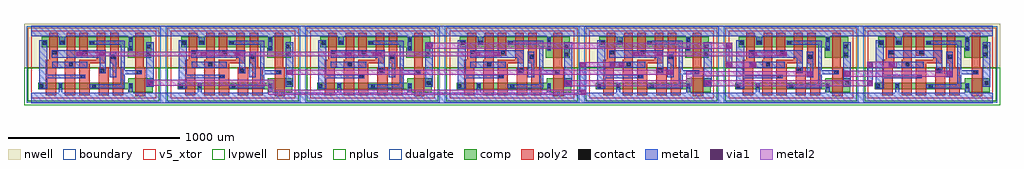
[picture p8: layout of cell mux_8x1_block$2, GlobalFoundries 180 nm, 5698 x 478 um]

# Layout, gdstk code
import gdstk
lib = gdstk.Library(unit=1e-6, precision=1e-07)
def R(c, l, rs):  # rectangles x0, y0, x1, y1
    for r in rs: c.add(gdstk.rectangle(r[:2], r[2:], *l))
def P(c, l, *ps):  # polygons
    for p in ps: c.add(gdstk.Polygon(p, *l))
boundary = (0, 0)
nwell = (21, 0)
comp = (22, 0)
poly2 = (30, 0)
pplus = (31, 0)
nplus = (32, 0)
contact = (33, 0)
metal1 = (34, 0)
via1 = (35, 0)
metal2 = (36, 0)
dualgate = (55, 0)
v5_xtor = (112, 1)
lvpwell = (204, 0)

mux_2bit_block_8 = lib.new_cell('mux_2bit_block$8')
R(mux_2bit_block_8, boundary, [(0,0,728,392)])
R(mux_2bit_block_8, nwell, [(-43,176,771,435)])
P(mux_2bit_block_8, comp, [(562,236),(562,296.5),(60,296.5),(60,358),(700,358),(700,236)],
  [(566,34),(566,52),(40,52),(40,88),(566,88),(566,116),(710,116),(710,34)])
R(mux_2bit_block_8, poly2, [(392,17.5,452,179.5), (280,247.5,330,380)])
P(mux_2bit_block_8, poly2, [(606,12),(606,380),(656,380),(656,179.5),(666,179.5),(666,12)],
  [(476,17.5),(476,203.5),(459.5,203.5),(459.5,380),(509.5,380),(509.5,179.5),(536,179.5),(536,17.5)],
  [(280,17.5),(280,223.5),(382,223.5),(382,380),(432,380),(432,203.5),(340,203.5),(340,17.5)],
  [(196,17.5),(196,223.5),(206,223.5),(206,380),(256,380),(256,17.5)],
  [(84,17.5),(84,223.5),(104,223.5),(104,380),(154,380),(154,179.5),(144,179.5),(144,17.5)])
R(mux_2bit_block_8, pplus, [(-20,176,748,412)])
R(mux_2bit_block_8, nplus, [(-20,-20,748,176)])
R(mux_2bit_block_8, contact, [(569,58.5,591,80.5), (47,59,69,81), (159,59,181,81), (355,59,377,81), (681,76.5,703,98.5), (287,115,309,137), (616,140,638,162), (404,150.5,426,172.5), (220,185,242,207), (466.5,230.5,488.5,252.5), (671,243,693,265), (125,254.5,147,276.5), (301,254.5,323,276.5), (569,282,591,304), (671,290,693,312), (67,311.5,89,333.5), (169,311.5,191,333.5), (345,311.5,367,333.5), (569,329,591,351)])
R(mux_2bit_block_8, metal1, [(670.5,65,715,327), (457,121,495,271), (121,177,327,212)])
P(mux_2bit_block_8, metal1, [(340,57.5),(340,81.5),(522.5,81.5),(522.5,311),(339,311),(339,334),(545.5,334),(545.5,162.5),(644,162.5),(644,139),(545.5,139),(545.5,57.5)],
  [(398.5,144.5),(398.5,236),(119,236),(119,278.5),(434,278.5),(434,144.5)],
  [(46.5,53),(46.5,338),(93,338),(93,137.5),(315.5,137.5),(315.5,114.5),(93,114.5),(93,53)],
  [(0,-30),(0,30),(158.5,30),(158.5,88),(181.5,88),(181.5,30),(568.5,30),(568.5,86.5),(591.5,86.5),(591.5,30),(728,30),(728,-30)],
  [(568.5,276),(568.5,362),(197,362),(197,310.5),(163,310.5),(163,362),(0,362),(0,422),(728,422),(728,362),(591.5,362),(591.5,276)])
R(mux_2bit_block_8, dualgate, [(-28,-28,756,420)])
R(mux_2bit_block_8, v5_xtor, [(0,0,728,392)])
R(mux_2bit_block_8, lvpwell, [(-43,-43,771,176)])
mux_2bit_block_8.add(gdstk.Label('IN1_MUX_NULL', (476,196), layer=34, texttype=10))
mux_2bit_block_8.add(gdstk.Label('IN0_MUX_INV2', (252,196), layer=34, texttype=10))
mux_2bit_block_8.add(gdstk.Label('SEL0', (308,252), layer=34, texttype=10))
mux_2bit_block_8.add(gdstk.Label('VDD', (364,392), layer=34, texttype=10))
mux_2bit_block_8.add(gdstk.Label('VSS', (364,0), layer=34, texttype=10))
mux_2bit_block_8.add(gdstk.Label('OUT_MUX_0', (700,196), layer=34, texttype=10))
mux_2bit_block_8.add(gdstk.Label('& Vendor GLOBALFOUNDRIES', (728,200), layer=63, texttype=63))
mux_2bit_block_8.add(gdstk.Label('& Product GF018hv5v_mcu_sc7', (728,150), layer=63, texttype=63))
mux_2bit_block_8.add(gdstk.Label('& Version 2015q2v1', (728,100), layer=63, texttype=63))
mux_2bit_block_8.add(gdstk.Label('& Metric 1.00', (728,50), layer=63, texttype=63))

mux_2bit_block_1_2 = lib.new_cell('mux_2bit_block$1$2')
R(mux_2bit_block_1_2, boundary, [(0,0,728,392)])
R(mux_2bit_block_1_2, nwell, [(-43,176,771,435)])
P(mux_2bit_block_1_2, comp, [(562,236),(562,296.5),(60,296.5),(60,358),(700,358),(700,236)],
  [(566,34),(566,52),(40,52),(40,88),(566,88),(566,116),(710,116),(710,34)])
R(mux_2bit_block_1_2, poly2, [(392,17.5,452,179.5), (280,247.5,330,380)])
P(mux_2bit_block_1_2, poly2, [(606,12),(606,380),(656,380),(656,179.5),(666,179.5),(666,12)],
  [(476,17.5),(476,203.5),(459.5,203.5),(459.5,380),(509.5,380),(509.5,179.5),(536,179.5),(536,17.5)],
  [(280,17.5),(280,223.5),(382,223.5),(382,380),(432,380),(432,203.5),(340,203.5),(340,17.5)],
  [(196,17.5),(196,223.5),(206,223.5),(206,380),(256,380),(256,17.5)],
  [(84,17.5),(84,223.5),(104,223.5),(104,380),(154,380),(154,179.5),(144,179.5),(144,17.5)])
R(mux_2bit_block_1_2, pplus, [(-20,176,748,412)])
R(mux_2bit_block_1_2, nplus, [(-20,-20,748,176)])
R(mux_2bit_block_1_2, contact, [(569,58.5,591,80.5), (47,59,69,81), (159,59,181,81), (355,59,377,81), (681,76.5,703,98.5), (287,115,309,137), (616,140,638,162), (404,150.5,426,172.5), (220,185,242,207), (466.5,230.5,488.5,252.5), (671,243,693,265), (125,254.5,147,276.5), (301,254.5,323,276.5), (569,282,591,304), (671,290,693,312), (67,311.5,89,333.5), (169,311.5,191,333.5), (345,311.5,367,333.5), (569,329,591,351)])
R(mux_2bit_block_1_2, metal1, [(670.5,65,715,327), (457,121,495,271), (121,177,327,212)])
P(mux_2bit_block_1_2, metal1, [(340,57.5),(340,81.5),(522.5,81.5),(522.5,311),(339,311),(339,334),(545.5,334),(545.5,162.5),(644,162.5),(644,139),(545.5,139),(545.5,57.5)],
  [(398.5,144.5),(398.5,236),(119,236),(119,278.5),(434,278.5),(434,144.5)],
  [(46.5,53),(46.5,338),(93,338),(93,137.5),(315.5,137.5),(315.5,114.5),(93,114.5),(93,53)],
  [(0,-30),(0,30),(158.5,30),(158.5,88),(181.5,88),(181.5,30),(568.5,30),(568.5,86.5),(591.5,86.5),(591.5,30),(728,30),(728,-30)],
  [(568.5,276),(568.5,362),(197,362),(197,310.5),(163,310.5),(163,362),(0,362),(0,422),(728,422),(728,362),(591.5,362),(591.5,276)])
R(mux_2bit_block_1_2, dualgate, [(-28,-28,756,420)])
R(mux_2bit_block_1_2, v5_xtor, [(0,0,728,392)])
R(mux_2bit_block_1_2, lvpwell, [(-43,-43,771,176)])
mux_2bit_block_1_2.add(gdstk.Label('IN3_MUX_NULL', (476,196), layer=34, texttype=10))
mux_2bit_block_1_2.add(gdstk.Label('IN2_MUX_OR2', (252,196), layer=34, texttype=10))
mux_2bit_block_1_2.add(gdstk.Label('SEL0', (308,252), layer=34, texttype=10))
mux_2bit_block_1_2.add(gdstk.Label('VDD', (364,392), layer=34, texttype=10))
mux_2bit_block_1_2.add(gdstk.Label('VSS', (364,0), layer=34, texttype=10))
mux_2bit_block_1_2.add(gdstk.Label('OUT_MUX_1', (700,196), layer=34, texttype=10))
mux_2bit_block_1_2.add(gdstk.Label('& Vendor GLOBALFOUNDRIES', (728,200), layer=63, texttype=63))
mux_2bit_block_1_2.add(gdstk.Label('& Product GF018hv5v_mcu_sc7', (728,150), layer=63, texttype=63))
mux_2bit_block_1_2.add(gdstk.Label('& Version 2015q2v1', (728,100), layer=63, texttype=63))
mux_2bit_block_1_2.add(gdstk.Label('& Metric 1.00', (728,50), layer=63, texttype=63))

mux_2bit_block_2_2 = lib.new_cell('mux_2bit_block$2$2')
R(mux_2bit_block_2_2, boundary, [(0,0,728,392)])
R(mux_2bit_block_2_2, nwell, [(-43,176,771,435)])
P(mux_2bit_block_2_2, comp, [(562,236),(562,296.5),(60,296.5),(60,358),(700,358),(700,236)],
  [(566,34),(566,52),(40,52),(40,88),(566,88),(566,116),(710,116),(710,34)])
R(mux_2bit_block_2_2, poly2, [(392,17.5,452,179.5), (280,247.5,330,380)])
P(mux_2bit_block_2_2, poly2, [(606,12),(606,380),(656,380),(656,179.5),(666,179.5),(666,12)],
  [(476,17.5),(476,203.5),(459.5,203.5),(459.5,380),(509.5,380),(509.5,179.5),(536,179.5),(536,17.5)],
  [(280,17.5),(280,223.5),(382,223.5),(382,380),(432,380),(432,203.5),(340,203.5),(340,17.5)],
  [(196,17.5),(196,223.5),(206,223.5),(206,380),(256,380),(256,17.5)],
  [(84,17.5),(84,223.5),(104,223.5),(104,380),(154,380),(154,179.5),(144,179.5),(144,17.5)])
R(mux_2bit_block_2_2, pplus, [(-20,176,748,412)])
R(mux_2bit_block_2_2, nplus, [(-20,-20,748,176)])
R(mux_2bit_block_2_2, contact, [(569,58.5,591,80.5), (47,59,69,81), (159,59,181,81), (355,59,377,81), (681,76.5,703,98.5), (287,115,309,137), (616,140,638,162), (404,150.5,426,172.5), (220,185,242,207), (466.5,230.5,488.5,252.5), (671,243,693,265), (125,254.5,147,276.5), (301,254.5,323,276.5), (569,282,591,304), (671,290,693,312), (67,311.5,89,333.5), (169,311.5,191,333.5), (345,311.5,367,333.5), (569,329,591,351)])
R(mux_2bit_block_2_2, metal1, [(670.5,65,715,327), (457,121,495,271), (121,177,327,212)])
P(mux_2bit_block_2_2, metal1, [(340,57.5),(340,81.5),(522.5,81.5),(522.5,311),(339,311),(339,334),(545.5,334),(545.5,162.5),(644,162.5),(644,139),(545.5,139),(545.5,57.5)],
  [(398.5,144.5),(398.5,236),(119,236),(119,278.5),(434,278.5),(434,144.5)],
  [(46.5,53),(46.5,338),(93,338),(93,137.5),(315.5,137.5),(315.5,114.5),(93,114.5),(93,53)],
  [(0,-30),(0,30),(158.5,30),(158.5,88),(181.5,88),(181.5,30),(568.5,30),(568.5,86.5),(591.5,86.5),(591.5,30),(728,30),(728,-30)],
  [(568.5,276),(568.5,362),(197,362),(197,310.5),(163,310.5),(163,362),(0,362),(0,422),(728,422),(728,362),(591.5,362),(591.5,276)])
R(mux_2bit_block_2_2, dualgate, [(-28,-28,756,420)])
R(mux_2bit_block_2_2, v5_xtor, [(0,0,728,392)])
R(mux_2bit_block_2_2, lvpwell, [(-43,-43,771,176)])
mux_2bit_block_2_2.add(gdstk.Label('IN5_MUX_NULL', (476,196), layer=34, texttype=10))
mux_2bit_block_2_2.add(gdstk.Label('IN4_MUX_AND2', (252,196), layer=34, texttype=10))
mux_2bit_block_2_2.add(gdstk.Label('SEL0', (308,252), layer=34, texttype=10))
mux_2bit_block_2_2.add(gdstk.Label('VDD', (364,392), layer=34, texttype=10))
mux_2bit_block_2_2.add(gdstk.Label('VSS', (364,0), layer=34, texttype=10))
mux_2bit_block_2_2.add(gdstk.Label('OUT_MUX_2', (700,196), layer=34, texttype=10))
mux_2bit_block_2_2.add(gdstk.Label('& Vendor GLOBALFOUNDRIES', (728,200), layer=63, texttype=63))
mux_2bit_block_2_2.add(gdstk.Label('& Product GF018hv5v_mcu_sc7', (728,150), layer=63, texttype=63))
mux_2bit_block_2_2.add(gdstk.Label('& Version 2015q2v1', (728,100), layer=63, texttype=63))
mux_2bit_block_2_2.add(gdstk.Label('& Metric 1.00', (728,50), layer=63, texttype=63))

mux_2bit_block_3_2 = lib.new_cell('mux_2bit_block$3$2')
R(mux_2bit_block_3_2, boundary, [(0,0,728,392)])
R(mux_2bit_block_3_2, nwell, [(-43,176,771,435)])
P(mux_2bit_block_3_2, comp, [(562,236),(562,296.5),(60,296.5),(60,358),(700,358),(700,236)],
  [(566,34),(566,52),(40,52),(40,88),(566,88),(566,116),(710,116),(710,34)])
R(mux_2bit_block_3_2, poly2, [(392,17.5,452,179.5), (280,247.5,330,380)])
P(mux_2bit_block_3_2, poly2, [(606,12),(606,380),(656,380),(656,179.5),(666,179.5),(666,12)],
  [(476,17.5),(476,203.5),(459.5,203.5),(459.5,380),(509.5,380),(509.5,179.5),(536,179.5),(536,17.5)],
  [(280,17.5),(280,223.5),(382,223.5),(382,380),(432,380),(432,203.5),(340,203.5),(340,17.5)],
  [(196,17.5),(196,223.5),(206,223.5),(206,380),(256,380),(256,17.5)],
  [(84,17.5),(84,223.5),(104,223.5),(104,380),(154,380),(154,179.5),(144,179.5),(144,17.5)])
R(mux_2bit_block_3_2, pplus, [(-20,176,748,412)])
R(mux_2bit_block_3_2, nplus, [(-20,-20,748,176)])
R(mux_2bit_block_3_2, contact, [(569,58.5,591,80.5), (47,59,69,81), (159,59,181,81), (355,59,377,81), (681,76.5,703,98.5), (287,115,309,137), (616,140,638,162), (404,150.5,426,172.5), (220,185,242,207), (466.5,230.5,488.5,252.5), (671,243,693,265), (125,254.5,147,276.5), (301,254.5,323,276.5), (569,282,591,304), (671,290,693,312), (67,311.5,89,333.5), (169,311.5,191,333.5), (345,311.5,367,333.5), (569,329,591,351)])
R(mux_2bit_block_3_2, metal1, [(670.5,65,715,327), (457,121,495,271), (121,177,327,212)])
P(mux_2bit_block_3_2, metal1, [(340,57.5),(340,81.5),(522.5,81.5),(522.5,311),(339,311),(339,334),(545.5,334),(545.5,162.5),(644,162.5),(644,139),(545.5,139),(545.5,57.5)],
  [(398.5,144.5),(398.5,236),(119,236),(119,278.5),(434,278.5),(434,144.5)],
  [(46.5,53),(46.5,338),(93,338),(93,137.5),(315.5,137.5),(315.5,114.5),(93,114.5),(93,53)],
  [(0,-30),(0,30),(158.5,30),(158.5,88),(181.5,88),(181.5,30),(568.5,30),(568.5,86.5),(591.5,86.5),(591.5,30),(728,30),(728,-30)],
  [(568.5,276),(568.5,362),(197,362),(197,310.5),(163,310.5),(163,362),(0,362),(0,422),(728,422),(728,362),(591.5,362),(591.5,276)])
R(mux_2bit_block_3_2, dualgate, [(-28,-28,756,420)])
R(mux_2bit_block_3_2, v5_xtor, [(0,0,728,392)])
R(mux_2bit_block_3_2, lvpwell, [(-43,-43,771,176)])
mux_2bit_block_3_2.add(gdstk.Label('IN6_MUX_ADD2', (252,196), layer=34, texttype=10))
mux_2bit_block_3_2.add(gdstk.Label('IN7_MUX_SUB2', (476,196), layer=34, texttype=10))
mux_2bit_block_3_2.add(gdstk.Label('SEL0', (308,252), layer=34, texttype=10))
mux_2bit_block_3_2.add(gdstk.Label('VDD', (364,392), layer=34, texttype=10))
mux_2bit_block_3_2.add(gdstk.Label('VSS', (364,0), layer=34, texttype=10))
mux_2bit_block_3_2.add(gdstk.Label('OUT_MUX_3', (700,196), layer=34, texttype=10))
mux_2bit_block_3_2.add(gdstk.Label('& Vendor GLOBALFOUNDRIES', (728,200), layer=63, texttype=63))
mux_2bit_block_3_2.add(gdstk.Label('& Product GF018hv5v_mcu_sc7', (728,150), layer=63, texttype=63))
mux_2bit_block_3_2.add(gdstk.Label('& Version 2015q2v1', (728,100), layer=63, texttype=63))
mux_2bit_block_3_2.add(gdstk.Label('& Metric 1.00', (728,50), layer=63, texttype=63))

mux_2bit_block_4_2 = lib.new_cell('mux_2bit_block$4$2')
R(mux_2bit_block_4_2, boundary, [(0,0,728,392)])
R(mux_2bit_block_4_2, nwell, [(-43,176,771,435)])
P(mux_2bit_block_4_2, comp, [(562,236),(562,296.5),(60,296.5),(60,358),(700,358),(700,236)],
  [(566,34),(566,52),(40,52),(40,88),(566,88),(566,116),(710,116),(710,34)])
R(mux_2bit_block_4_2, poly2, [(392,17.5,452,179.5), (280,247.5,330,380)])
P(mux_2bit_block_4_2, poly2, [(606,12),(606,380),(656,380),(656,179.5),(666,179.5),(666,12)],
  [(476,17.5),(476,203.5),(459.5,203.5),(459.5,380),(509.5,380),(509.5,179.5),(536,179.5),(536,17.5)],
  [(280,17.5),(280,223.5),(382,223.5),(382,380),(432,380),(432,203.5),(340,203.5),(340,17.5)],
  [(196,17.5),(196,223.5),(206,223.5),(206,380),(256,380),(256,17.5)],
  [(84,17.5),(84,223.5),(104,223.5),(104,380),(154,380),(154,179.5),(144,179.5),(144,17.5)])
R(mux_2bit_block_4_2, pplus, [(-20,176,748,412)])
R(mux_2bit_block_4_2, nplus, [(-20,-20,748,176)])
R(mux_2bit_block_4_2, contact, [(569,58.5,591,80.5), (47,59,69,81), (159,59,181,81), (355,59,377,81), (681,76.5,703,98.5), (287,115,309,137), (616,140,638,162), (404,150.5,426,172.5), (220,185,242,207), (466.5,230.5,488.5,252.5), (671,243,693,265), (125,254.5,147,276.5), (301,254.5,323,276.5), (569,282,591,304), (671,290,693,312), (67,311.5,89,333.5), (169,311.5,191,333.5), (345,311.5,367,333.5), (569,329,591,351)])
R(mux_2bit_block_4_2, metal1, [(670.5,65,715,327), (457,121,495,271), (121,177,327,212)])
P(mux_2bit_block_4_2, metal1, [(340,57.5),(340,81.5),(522.5,81.5),(522.5,311),(339,311),(339,334),(545.5,334),(545.5,162.5),(644,162.5),(644,139),(545.5,139),(545.5,57.5)],
  [(398.5,144.5),(398.5,236),(119,236),(119,278.5),(434,278.5),(434,144.5)],
  [(46.5,53),(46.5,338),(93,338),(93,137.5),(315.5,137.5),(315.5,114.5),(93,114.5),(93,53)],
  [(0,-30),(0,30),(158.5,30),(158.5,88),(181.5,88),(181.5,30),(568.5,30),(568.5,86.5),(591.5,86.5),(591.5,30),(728,30),(728,-30)],
  [(568.5,276),(568.5,362),(197,362),(197,310.5),(163,310.5),(163,362),(0,362),(0,422),(728,422),(728,362),(591.5,362),(591.5,276)])
R(mux_2bit_block_4_2, dualgate, [(-28,-28,756,420)])
R(mux_2bit_block_4_2, v5_xtor, [(0,0,728,392)])
R(mux_2bit_block_4_2, lvpwell, [(-43,-43,771,176)])
mux_2bit_block_4_2.add(gdstk.Label('SEL1', (308,252), layer=34, texttype=10))
mux_2bit_block_4_2.add(gdstk.Label('VDD', (364,392), layer=34, texttype=10))
mux_2bit_block_4_2.add(gdstk.Label('VSS', (364,0), layer=34, texttype=10))
mux_2bit_block_4_2.add(gdstk.Label('OUT_MUX_4', (700,196), layer=34, texttype=10))
mux_2bit_block_4_2.add(gdstk.Label('IN8_OUT_MUX0', (252,196), layer=34, texttype=10))
mux_2bit_block_4_2.add(gdstk.Label('IN9_OUT_MUX1', (476,196), layer=34, texttype=10))
mux_2bit_block_4_2.add(gdstk.Label('& Vendor GLOBALFOUNDRIES', (728,200), layer=63, texttype=63))
mux_2bit_block_4_2.add(gdstk.Label('& Product GF018hv5v_mcu_sc7', (728,150), layer=63, texttype=63))
mux_2bit_block_4_2.add(gdstk.Label('& Version 2015q2v1', (728,100), layer=63, texttype=63))
mux_2bit_block_4_2.add(gdstk.Label('& Metric 1.00', (728,50), layer=63, texttype=63))

mux_2bit_block_5_2 = lib.new_cell('mux_2bit_block$5$2')
R(mux_2bit_block_5_2, boundary, [(0,0,728,392)])
R(mux_2bit_block_5_2, nwell, [(-43,176,771,435)])
P(mux_2bit_block_5_2, comp, [(562,236),(562,296.5),(60,296.5),(60,358),(700,358),(700,236)],
  [(566,34),(566,52),(40,52),(40,88),(566,88),(566,116),(710,116),(710,34)])
R(mux_2bit_block_5_2, poly2, [(392,17.5,452,179.5), (280,247.5,330,380)])
P(mux_2bit_block_5_2, poly2, [(606,12),(606,380),(656,380),(656,179.5),(666,179.5),(666,12)],
  [(476,17.5),(476,203.5),(459.5,203.5),(459.5,380),(509.5,380),(509.5,179.5),(536,179.5),(536,17.5)],
  [(280,17.5),(280,223.5),(382,223.5),(382,380),(432,380),(432,203.5),(340,203.5),(340,17.5)],
  [(196,17.5),(196,223.5),(206,223.5),(206,380),(256,380),(256,17.5)],
  [(84,17.5),(84,223.5),(104,223.5),(104,380),(154,380),(154,179.5),(144,179.5),(144,17.5)])
R(mux_2bit_block_5_2, pplus, [(-20,176,748,412)])
R(mux_2bit_block_5_2, nplus, [(-20,-20,748,176)])
R(mux_2bit_block_5_2, contact, [(569,58.5,591,80.5), (47,59,69,81), (159,59,181,81), (355,59,377,81), (681,76.5,703,98.5), (287,115,309,137), (616,140,638,162), (404,150.5,426,172.5), (220,185,242,207), (466.5,230.5,488.5,252.5), (671,243,693,265), (125,254.5,147,276.5), (301,254.5,323,276.5), (569,282,591,304), (671,290,693,312), (67,311.5,89,333.5), (169,311.5,191,333.5), (345,311.5,367,333.5), (569,329,591,351)])
R(mux_2bit_block_5_2, metal1, [(670.5,65,715,327), (457,121,495,271), (121,177,327,212)])
P(mux_2bit_block_5_2, metal1, [(340,57.5),(340,81.5),(522.5,81.5),(522.5,311),(339,311),(339,334),(545.5,334),(545.5,162.5),(644,162.5),(644,139),(545.5,139),(545.5,57.5)],
  [(398.5,144.5),(398.5,236),(119,236),(119,278.5),(434,278.5),(434,144.5)],
  [(46.5,53),(46.5,338),(93,338),(93,137.5),(315.5,137.5),(315.5,114.5),(93,114.5),(93,53)],
  [(0,-30),(0,30),(158.5,30),(158.5,88),(181.5,88),(181.5,30),(568.5,30),(568.5,86.5),(591.5,86.5),(591.5,30),(728,30),(728,-30)],
  [(568.5,276),(568.5,362),(197,362),(197,310.5),(163,310.5),(163,362),(0,362),(0,422),(728,422),(728,362),(591.5,362),(591.5,276)])
R(mux_2bit_block_5_2, dualgate, [(-28,-28,756,420)])
R(mux_2bit_block_5_2, v5_xtor, [(0,0,728,392)])
R(mux_2bit_block_5_2, lvpwell, [(-43,-43,771,176)])
mux_2bit_block_5_2.add(gdstk.Label('SEL1', (308,252), layer=34, texttype=10))
mux_2bit_block_5_2.add(gdstk.Label('VDD', (364,392), layer=34, texttype=10))
mux_2bit_block_5_2.add(gdstk.Label('VSS', (364,0), layer=34, texttype=10))
mux_2bit_block_5_2.add(gdstk.Label('OUT_MUX_5', (700,196), layer=34, texttype=10))
mux_2bit_block_5_2.add(gdstk.Label('IN10_OUT_MUX2', (252,196), layer=34, texttype=10))
mux_2bit_block_5_2.add(gdstk.Label('IN11_OUT_MUX3', (476,196), layer=34, texttype=10))
mux_2bit_block_5_2.add(gdstk.Label('& Vendor GLOBALFOUNDRIES', (728,200), layer=63, texttype=63))
mux_2bit_block_5_2.add(gdstk.Label('& Product GF018hv5v_mcu_sc7', (728,150), layer=63, texttype=63))
mux_2bit_block_5_2.add(gdstk.Label('& Version 2015q2v1', (728,100), layer=63, texttype=63))
mux_2bit_block_5_2.add(gdstk.Label('& Metric 1.00', (728,50), layer=63, texttype=63))

mux_2bit_block_6_2 = lib.new_cell('mux_2bit_block$6$2')
R(mux_2bit_block_6_2, boundary, [(0,0,728,392)])
R(mux_2bit_block_6_2, nwell, [(-43,176,771,435)])
P(mux_2bit_block_6_2, comp, [(562,236),(562,296.5),(60,296.5),(60,358),(700,358),(700,236)],
  [(566,34),(566,52),(40,52),(40,88),(566,88),(566,116),(710,116),(710,34)])
R(mux_2bit_block_6_2, poly2, [(392,17.5,452,179.5), (280,247.5,330,380)])
P(mux_2bit_block_6_2, poly2, [(606,12),(606,380),(656,380),(656,179.5),(666,179.5),(666,12)],
  [(476,17.5),(476,203.5),(459.5,203.5),(459.5,380),(509.5,380),(509.5,179.5),(536,179.5),(536,17.5)],
  [(280,17.5),(280,223.5),(382,223.5),(382,380),(432,380),(432,203.5),(340,203.5),(340,17.5)],
  [(196,17.5),(196,223.5),(206,223.5),(206,380),(256,380),(256,17.5)],
  [(84,17.5),(84,223.5),(104,223.5),(104,380),(154,380),(154,179.5),(144,179.5),(144,17.5)])
R(mux_2bit_block_6_2, pplus, [(-20,176,748,412)])
R(mux_2bit_block_6_2, nplus, [(-20,-20,748,176)])
R(mux_2bit_block_6_2, contact, [(569,58.5,591,80.5), (47,59,69,81), (159,59,181,81), (355,59,377,81), (681,76.5,703,98.5), (287,115,309,137), (616,140,638,162), (404,150.5,426,172.5), (220,185,242,207), (466.5,230.5,488.5,252.5), (671,243,693,265), (125,254.5,147,276.5), (301,254.5,323,276.5), (569,282,591,304), (671,290,693,312), (67,311.5,89,333.5), (169,311.5,191,333.5), (345,311.5,367,333.5), (569,329,591,351)])
R(mux_2bit_block_6_2, metal1, [(670.5,65,715,327), (457,121,495,271), (121,177,327,212)])
P(mux_2bit_block_6_2, metal1, [(340,57.5),(340,81.5),(522.5,81.5),(522.5,311),(339,311),(339,334),(545.5,334),(545.5,162.5),(644,162.5),(644,139),(545.5,139),(545.5,57.5)],
  [(398.5,144.5),(398.5,236),(119,236),(119,278.5),(434,278.5),(434,144.5)],
  [(46.5,53),(46.5,338),(93,338),(93,137.5),(315.5,137.5),(315.5,114.5),(93,114.5),(93,53)],
  [(0,-30),(0,30),(158.5,30),(158.5,88),(181.5,88),(181.5,30),(568.5,30),(568.5,86.5),(591.5,86.5),(591.5,30),(728,30),(728,-30)],
  [(568.5,276),(568.5,362),(197,362),(197,310.5),(163,310.5),(163,362),(0,362),(0,422),(728,422),(728,362),(591.5,362),(591.5,276)])
R(mux_2bit_block_6_2, dualgate, [(-28,-28,756,420)])
R(mux_2bit_block_6_2, v5_xtor, [(0,0,728,392)])
R(mux_2bit_block_6_2, lvpwell, [(-43,-43,771,176)])
mux_2bit_block_6_2.add(gdstk.Label('SEL2', (308,252), layer=34, texttype=10))
mux_2bit_block_6_2.add(gdstk.Label('VDD', (364,392), layer=34, texttype=10))
mux_2bit_block_6_2.add(gdstk.Label('VSS', (364,0), layer=34, texttype=10))
mux_2bit_block_6_2.add(gdstk.Label('OUT_MUX6', (700,196), layer=34, texttype=10))
mux_2bit_block_6_2.add(gdstk.Label('IN12_OUT_MUX4', (252,196), layer=34, texttype=10))
mux_2bit_block_6_2.add(gdstk.Label('IN13_OUT_MUX5', (476,196), layer=34, texttype=10))
mux_2bit_block_6_2.add(gdstk.Label('& Vendor GLOBALFOUNDRIES', (728,200), layer=63, texttype=63))
mux_2bit_block_6_2.add(gdstk.Label('& Product GF018hv5v_mcu_sc7', (728,150), layer=63, texttype=63))
mux_2bit_block_6_2.add(gdstk.Label('& Version 2015q2v1', (728,100), layer=63, texttype=63))
mux_2bit_block_6_2.add(gdstk.Label('& Metric 1.00', (728,50), layer=63, texttype=63))

mux_8x1_block_2 = lib.new_cell('mux_8x1_block$2')
R(mux_8x1_block_2, metal1, [(-27.3,-87.1,5584.2,-27.1), (3174.5,-37.2,3211.7,151.5), (4852,12.1,4885.4,154.4), (4026.3,119.9,4063.4,265.9), (-27.1,305,5584.4,365)])
R(mux_8x1_block_2, via1, [(3179.3,-34.2,3208.7,-12.4), (4855.3,14.4,4882.8,43.8), (3091.6,15.5,3127.4,44.3), (3907.7,16,3938.4,43.3), (651.6,22.6,682.9,43.6), (5317.8,70.1,5347,98.9), (4723.1,70.9,4753.5,98), (4503.6,72.2,4533.3,97.4), (3689.2,82,3717.1,105.2), (1466.8,82.9,1498.3,104.9), (4169.5,122.2,4202,149.3), (4982.1,122.4,5013.6,152.2), (4856.5,122.5,4882.2,150.5), (4029.8,124.2,4060.6,149.6), (3179,126.6,3207.6,148.4), (3402.1,127.5,3424.7,148.3), (3354.7,127.7,3375.5,148.7), (960.6,188.8,989.8,210.1), (240.4,188.9,273.2,211), (240.4,188.9,273.2,211), (1801.2,189.3,1840.7,208), (3489.4,189.4,3522.2,211.5), (4342.4,189.5,4380,210), (1160.4,189.8,1192.8,210.5), (1967.3,189.8,2016.7,206.6), (4177.5,189.9,4206.7,209.3), (2566.3,190.9,2590.2,210.2), (2670.8,190.9,2704,209.1), (365.7,191.9,398.3,209), (365.7,191.9,398.3,209), (3623.5,192.9,3656.1,210), (4031.4,234.8,4059.7,261.6), (2278.4,235.7,2312,261.6)])
R(mux_8x1_block_2, metal2, [(3904,12.1,4885.4,47), (4718.5,67.1,5349.8,102), (1463,79.7,3719.7,107.9), (4852,119.6,5025.5,154.4), (4026.3,120.2,4205.6,154.2), (3174.5,123.1,3435.2,151.5), (235.5,186.3,2710.5,214.5), (3482.6,186.3,4384.2,214.5), (2274,231.3,4063.4,266.2)])
P(mux_8x1_block_2, metal2, [(3797.4,12.5),(3797.4,12.6),(3087.6,12.6),(3087.6,47.5),(3797.4,47.5),(3797.4,100.2),(4535.9,100.2),(4535.9,69.8),(3828.9,69.8),(3828.9,12.5)],
  [(1357.3,-37.2),(1357.3,15.9),(645.3,15.9),(645.3,50.8),(1357.3,50.8),(1357.3,50.9),(1388.8,50.9),(1388.8,-8.8),(3211.7,-8.8),(3211.7,-37.2)])
mux_8x1_block_2.add(gdstk.Reference(mux_2bit_block_8, (-27.1,-57.1)))
mux_8x1_block_2.add(gdstk.Reference(mux_2bit_block_1_2, (786.9,-57.1)))
mux_8x1_block_2.add(gdstk.Reference(mux_2bit_block_2_2, (1600.9,-57.1)))
mux_8x1_block_2.add(gdstk.Reference(mux_2bit_block_3_2, (2414.9,-57.1)))
mux_8x1_block_2.add(gdstk.Reference(mux_2bit_block_4_2, (3228.9,-57.1)))
mux_8x1_block_2.add(gdstk.Reference(mux_2bit_block_5_2, (4042.9,-57.1)))
mux_8x1_block_2.add(gdstk.Reference(mux_2bit_block_6_2, (4856.9,-57.1)))

lib.write_gds('mux_8x1_block_2.gds')
